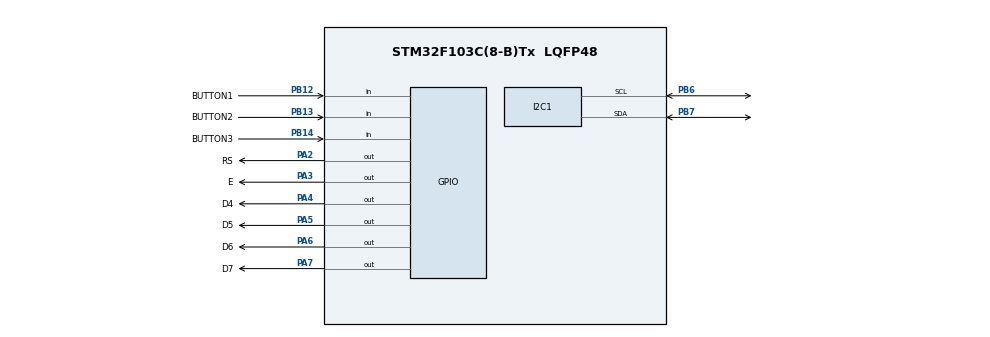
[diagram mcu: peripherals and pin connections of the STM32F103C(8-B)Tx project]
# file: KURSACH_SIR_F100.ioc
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Mcu.Family=STM32F1
Mcu.Name=STM32F103C(8-B)Tx
Mcu.Package=LQFP48
NVIC.PriorityGroup=NVIC_PRIORITYGROUP_4
NVIC.TIM2_IRQn=true\:0\:0\:false\:false\:true\:true\:true
NVIC.TIM3_IRQn=true\:0\:0\:false\:false\:true\:true\:true
PA13.Mode=Serial_Wire
PA13.Signal=SYS_JTMS-SWDIO
PA14.Mode=Serial_Wire
PA14.Signal=SYS_JTCK-SWCLK
PA2.GPIO_Label=RS
PA2.Signal=GPIO_Output
PA3.GPIO_Label=E
PA3.Signal=GPIO_Output
PA4.GPIO_Label=D4
PA4.Signal=GPIO_Output
PA5.GPIO_Label=D5
PA5.Signal=GPIO_Output
PA6.GPIO_Label=D6
PA6.Signal=GPIO_Output
PA7.GPIO_Label=D7
PA7.Signal=GPIO_Output
PB12.GPIO_Label=BUTTON1
PB12.GPIO_Mode=GPIO_MODE_INPUT
PB12.GPIO_PuPd=GPIO_PULLUP
PB12.Signal=GPIO_Input
PB13.GPIO_Label=BUTTON2
PB13.GPIO_Mode=GPIO_MODE_INPUT
PB13.GPIO_PuPd=GPIO_PULLUP
PB13.Signal=GPIO_Input
PB14.GPIO_Label=BUTTON3
PB14.GPIO_Mode=GPIO_MODE_INPUT
PB14.GPIO_PuPd=GPIO_PULLUP
PB14.Signal=GPIO_Input
PB6.Mode=I2C
PB6.Signal=I2C1_SCL
PB7.Mode=I2C
PB7.Signal=I2C1_SDA
PD0-OSC_IN.Mode=HSE-External-Oscillator
PD0-OSC_IN.Signal=RCC_OSC_IN
PD1-OSC_OUT.Mode=HSE-External-Oscillator
PD1-OSC_OUT.Signal=RCC_OSC_OUT
ProjectManager.HeapSize=0x200
ProjectManager.StackSize=0x400
ProjectManager.TargetToolchain=EWARM V8
RCC.APB1Freq_Value=8000000
RCC.APB2Freq_Value=8000000
TIM1.Period=800
TIM1.Prescaler=99
TIM2.Period=800
TIM2.Prescaler=99
TIM3.Period=100
TIM3.Prescaler=7999
VP_TIM1_VS_ClockSourceINT.Mode=Internal
VP_TIM2_VS_ClockSourceINT.Mode=Internal
VP_TIM3_VS_ClockSourceINT.Mode=Internal
board=custom

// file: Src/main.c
/* USER CODE BEGIN Header */
/**
  ******************************************************************************
  * @file           : main.c
  * @brief          : Main program body
  ******************************************************************************
  * @attention
  *
  * <h2><center>&copy; Copyright (c) 2019 STMicroelectronics.
  * All rights reserved.</center></h2>
  *
  * This software component is licensed by ST under BSD 3-Clause license,
  * the "License"; You may not use this file except in compliance with the
  * License. You may obtain a copy of the License at:
  *                        opensource.org/licenses/BSD-3-Clause
  *
  ******************************************************************************
  */
/* USER CODE END Header */

#include "main.h"

/* USER CODE BEGIN Includes */
#include "hd44780.h"
#include <string.h>
#include "ssd1306.h"
#include "global.h"

/* USER CODE END Includes */

/* USER CODE BEGIN PD */
#define COLOR Black
#define FON White
/* USER CODE END PD */

I2C_HandleTypeDef hi2c1;

/* USER CODE BEGIN PV */
I2C_HandleTypeDef hi2c1;
/* USER CODE END PV */

void SystemClock_Config(void);
static void MX_GPIO_Init(void);
static void MX_TIM1_Init(void);
static void MX_TIM2_Init(void);
static void MX_TIM3_Init(void);
static void MX_I2C1_Init(void);

int main(void)
{

  /* MCU Configuration--------------------------------------------------------*/

  /* Reset of all peripherals, Initializes the Flash interface and the Systick. */
  HAL_Init();

  /* Configure the system clock */
  SystemClock_Config();

  /* Initialize all configured peripherals */
  MX_GPIO_Init();
  MX_TIM1_Init();
  MX_TIM2_Init();
  MX_TIM3_Init();
  MX_I2C1_Init();
  /* USER CODE BEGIN 2 */
   ssd1306_Init();
  HAL_Delay(1000);
  ssd1306_Fill(FON);
  ssd1306_UpdateScreen();

  ssd1306_SetCursor(23,23);
  ssd1306_WriteString("MAMA",Font_11x18,COLOR);

  ssd1306_UpdateScreen();
  HAL_Delay(1000);

  lcdInit();
  lcdClrScr();
  lcdGoto(2,2);
  lcdPuts("SEMESTROVAYA");

  T1_min=MIN;
  T1_sec=SEC;
  T1_msec=MSEC;
  T2_min=MIN;
  T2_sec=SEC;
  T2_msec=MSEC;

  LL_TIM_EnableIT_UPDATE(TIM1);
  LL_TIM_EnableCounter(TIM1);
  LL_TIM_EnableIT_UPDATE(TIM2);
  LL_TIM_EnableCounter(TIM2);
  LL_TIM_EnableIT_UPDATE(TIM3);
  LL_TIM_EnableCounter(TIM3);
  /* USER CODE END 2 */

  /* Infinite loop */
  while (1)
  {

  }
}

void SystemClock_Config(void)
{
  RCC_OscInitTypeDef RCC_OscInitStruct = {0};
  RCC_ClkInitTypeDef RCC_ClkInitStruct = {0};

  /** Initializes the CPU, AHB and APB busses clocks
  */
  RCC_OscInitStruct.OscillatorType = RCC_OSCILLATORTYPE_HSI;
  RCC_OscInitStruct.HSIState = RCC_HSI_ON;
  RCC_OscInitStruct.HSICalibrationValue = RCC_HSICALIBRATION_DEFAULT;
  RCC_OscInitStruct.PLL.PLLState = RCC_PLL_NONE;
  if (HAL_RCC_OscConfig(&RCC_OscInitStruct) != HAL_OK)
  {
    Error_Handler();
  }
  /** Initializes the CPU, AHB and APB busses clocks
  */
  RCC_ClkInitStruct.ClockType = RCC_CLOCKTYPE_HCLK|RCC_CLOCKTYPE_SYSCLK
                              |RCC_CLOCKTYPE_PCLK1|RCC_CLOCKTYPE_PCLK2;
  RCC_ClkInitStruct.SYSCLKSource = RCC_SYSCLKSOURCE_HSI;
  RCC_ClkInitStruct.AHBCLKDivider = RCC_SYSCLK_DIV1;
  RCC_ClkInitStruct.APB1CLKDivider = RCC_HCLK_DIV1;
  RCC_ClkInitStruct.APB2CLKDivider = RCC_HCLK_DIV1;

  if (HAL_RCC_ClockConfig(&RCC_ClkInitStruct, FLASH_LATENCY_0) != HAL_OK)
  {
    Error_Handler();
  }
}

static void MX_I2C1_Init(void)
{

  hi2c1.Instance = I2C1;
  hi2c1.Init.ClockSpeed = 100000;
  hi2c1.Init.DutyCycle = I2C_DUTYCYCLE_2;
  hi2c1.Init.OwnAddress1 = 0;
  hi2c1.Init.AddressingMode = I2C_ADDRESSINGMODE_7BIT;
  hi2c1.Init.DualAddressMode = I2C_DUALADDRESS_DISABLE;
  hi2c1.Init.OwnAddress2 = 0;
  hi2c1.Init.GeneralCallMode = I2C_GENERALCALL_DISABLE;
  hi2c1.Init.NoStretchMode = I2C_NOSTRETCH_DISABLE;
  if (HAL_I2C_Init(&hi2c1) != HAL_OK)
  {
    Error_Handler();
  }

}

static void MX_TIM1_Init(void)
{

  LL_TIM_InitTypeDef TIM_InitStruct = {0};

  /* Peripheral clock enable */
  LL_APB2_GRP1_EnableClock(LL_APB2_GRP1_PERIPH_TIM1);

  TIM_InitStruct.Prescaler = 99;
  TIM_InitStruct.CounterMode = LL_TIM_COUNTERMODE_UP;
  TIM_InitStruct.Autoreload = 800;
  TIM_InitStruct.ClockDivision = LL_TIM_CLOCKDIVISION_DIV1;
  TIM_InitStruct.RepetitionCounter = 0;
  LL_TIM_Init(TIM1, &TIM_InitStruct);
  LL_TIM_DisableARRPreload(TIM1);
  LL_TIM_SetClockSource(TIM1, LL_TIM_CLOCKSOURCE_INTERNAL);
  LL_TIM_SetTriggerOutput(TIM1, LL_TIM_TRGO_RESET);
  LL_TIM_DisableMasterSlaveMode(TIM1);

}

static void MX_TIM2_Init(void)
{

  LL_TIM_InitTypeDef TIM_InitStruct = {0};

  /* Peripheral clock enable */
  LL_APB1_GRP1_EnableClock(LL_APB1_GRP1_PERIPH_TIM2);

  /* TIM2 interrupt Init */
  NVIC_SetPriority(TIM2_IRQn, NVIC_EncodePriority(NVIC_GetPriorityGrouping(),0, 0));
  NVIC_EnableIRQ(TIM2_IRQn);

  TIM_InitStruct.Prescaler = 99;
  TIM_InitStruct.CounterMode = LL_TIM_COUNTERMODE_UP;
  TIM_InitStruct.Autoreload = 800;
  TIM_InitStruct.ClockDivision = LL_TIM_CLOCKDIVISION_DIV1;
  LL_TIM_Init(TIM2, &TIM_InitStruct);
  LL_TIM_DisableARRPreload(TIM2);
  LL_TIM_SetClockSource(TIM2, LL_TIM_CLOCKSOURCE_INTERNAL);
  LL_TIM_SetTriggerOutput(TIM2, LL_TIM_TRGO_RESET);
  LL_TIM_DisableMasterSlaveMode(TIM2);

}

static void MX_TIM3_Init(void)
{

  LL_TIM_InitTypeDef TIM_InitStruct = {0};

  /* Peripheral clock enable */
  LL_APB1_GRP1_EnableClock(LL_APB1_GRP1_PERIPH_TIM3);

  /* TIM3 interrupt Init */
  NVIC_SetPriority(TIM3_IRQn, NVIC_EncodePriority(NVIC_GetPriorityGrouping(),0, 0));
  NVIC_EnableIRQ(TIM3_IRQn);

  TIM_InitStruct.Prescaler = 7999;
  TIM_InitStruct.CounterMode = LL_TIM_COUNTERMODE_UP;
  TIM_InitStruct.Autoreload = 100;
  TIM_InitStruct.ClockDivision = LL_TIM_CLOCKDIVISION_DIV1;
  LL_TIM_Init(TIM3, &TIM_InitStruct);
  LL_TIM_DisableARRPreload(TIM3);
  LL_TIM_SetClockSource(TIM3, LL_TIM_CLOCKSOURCE_INTERNAL);
  LL_TIM_SetTriggerOutput(TIM3, LL_TIM_TRGO_RESET);
  LL_TIM_DisableMasterSlaveMode(TIM3);

}

static void MX_GPIO_Init(void)
{
  GPIO_InitTypeDef GPIO_InitStruct = {0};

  /* GPIO Ports Clock Enable */
  __HAL_RCC_GPIOD_CLK_ENABLE();
  __HAL_RCC_GPIOA_CLK_ENABLE();
  __HAL_RCC_GPIOB_CLK_ENABLE();

  /*Configure GPIO pin Output Level */
  HAL_GPIO_WritePin(GPIOA, RS_Pin|E_Pin|D4_Pin|D5_Pin
                          |D6_Pin|D7_Pin, GPIO_PIN_RESET);

  /*Configure GPIO pins : RS_Pin E_Pin D4_Pin D5_Pin
                           D6_Pin D7_Pin */
  GPIO_InitStruct.Pin = RS_Pin|E_Pin|D4_Pin|D5_Pin
                          |D6_Pin|D7_Pin;
  GPIO_InitStruct.Mode = GPIO_MODE_OUTPUT_PP;
  GPIO_InitStruct.Pull = GPIO_NOPULL;
  GPIO_InitStruct.Speed = GPIO_SPEED_FREQ_LOW;
  HAL_GPIO_Init(GPIOA, &GPIO_InitStruct);

  /*Configure GPIO pins : BUTTON1_Pin BUTTON2_Pin BUTTON3_Pin */
  GPIO_InitStruct.Pin = BUTTON1_Pin|BUTTON2_Pin|BUTTON3_Pin;
  GPIO_InitStruct.Mode = GPIO_MODE_INPUT;
  GPIO_InitStruct.Pull = GPIO_PULLUP;
  HAL_GPIO_Init(GPIOB, &GPIO_InitStruct);

}

void Error_Handler(void)
{
}

/************************ (C) COPYRIGHT STMicroelectronics *****END OF FILE****/
